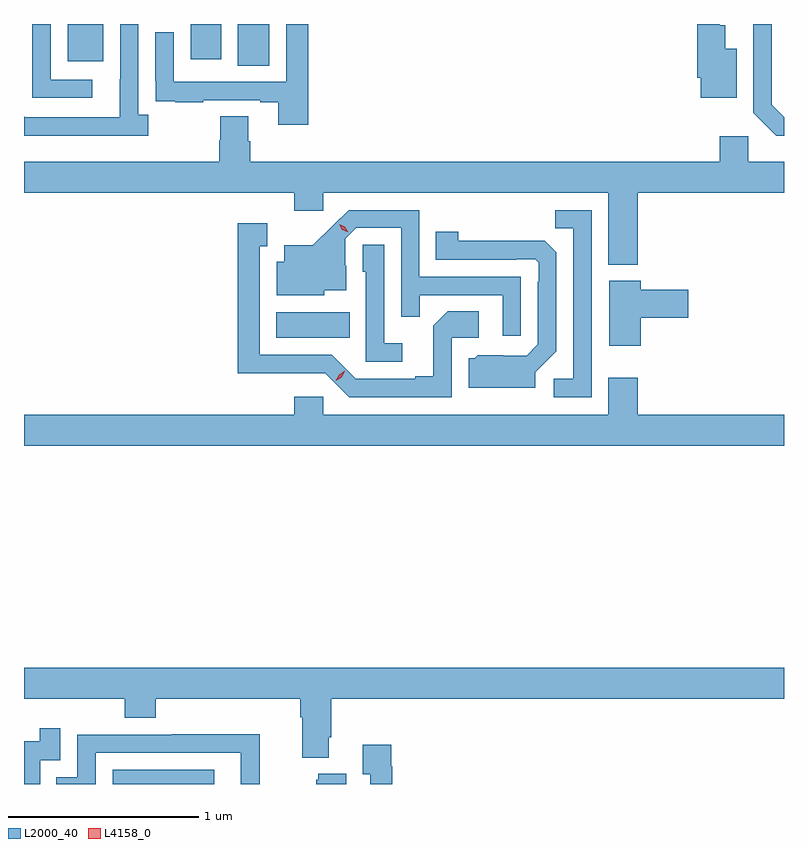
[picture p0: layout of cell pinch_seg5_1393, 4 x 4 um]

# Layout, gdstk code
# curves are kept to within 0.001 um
import gdstk
lib = gdstk.Library(unit=1e-6, precision=1e-09)
def R(c, l, rs):  # rectangles x0, y0, x1, y1
    for r in rs: c.add(gdstk.rectangle(r[:2], r[2:], *l))
def P(c, l, *ps):  # polygons
    for p in ps: c.add(gdstk.Polygon(p, *l))
L2000_40 = (2000, 40)
L4158_0 = (4158, 0)

pinch_seg5_1393 = lib.new_cell('pinch_seg5_1393')
R(pinch_seg5_1393, L2000_40, [(135.399,902.932,135.934,903.006), (136.259,905.282,136.646,905.416), (136.058,906.712,136.222,906.932), (135.161,906.737,135.349,906.932), (135.809,906.747,135.97,906.932)])
P(pinch_seg5_1393, L2000_40, [(136.427,906.932),(136.311,906.932),(136.311,906.627),(135.72,906.627),(135.72,906.889),(135.624,906.889),(135.624,906.634),(135.625,906.634),(135.625,906.525),(135.727,906.525),(135.727,906.519),(135.875,906.519),(135.875,906.531),(136.175,906.531),(136.175,906.519),(136.271,906.519),(136.271,906.402),(136.427,906.402)],
  [(138.682,906.802),(138.622,906.802),(138.622,906.925),(138.593,906.925),(138.593,906.932),(138.475,906.932),(138.475,906.649),(138.494,906.649),(138.494,906.545),(138.682,906.545)],
  [(138.932,906.442),(138.867,906.507),(138.867,906.932),(138.771,906.932),(138.771,906.465),(138.892,906.344),(138.932,906.344)],
  [(135.586,906.454),(135.534,906.454),(135.534,906.932),(135.438,906.932),(135.438,906.641),(135.437,906.641),(135.437,906.441),(134.937,906.441),(134.932,906.446),(134.932,906.344),(135.586,906.344)],
  [(135.292,906.639),(135.072,906.639),(135.072,906.932),(134.976,906.932),(134.976,906.543),(135.292,906.543)],
  [(135.964,906.446),(135.964,906.321),(135.959,906.321),(135.959,906.208),(134.932,906.208),(134.932,906.044),(136.355,906.044),(136.355,905.949),(136.506,905.949),(136.506,906.044),(138.008,906.044),(138.008,905.666),(138.161,905.666),(138.161,906.044),(138.932,906.044),(138.932,906.208),(138.744,906.208),(138.744,906.34),(138.593,906.34),(138.593,906.208),(136.124,906.208),(136.124,906.314),(136.111,906.314),(136.111,906.446)],
  [(137.547,905.601),(137.013,905.601),(137.013,905.952),(136.64,905.952),(136.453,905.767),(136.301,905.767),(136.301,905.68),(136.262,905.68),(136.262,905.504),(136.512,905.504),(136.512,905.531),(136.627,905.531),(136.627,905.66),(136.623,905.66),(136.623,905.802),(136.68,905.859),(136.917,905.859),(136.917,905.392),(137.015,905.392),(137.015,905.505),(137.451,905.505),(137.451,905.292),(137.547,905.292)],
  [(137.919,905.952),(137.728,905.952),(137.728,905.857),(137.823,905.857),(137.823,905.064),(137.721,905.064),(137.721,904.968),(137.919,904.968)],
  [(137.184,905.28),(137.326,905.28),(137.326,905.42),(137.161,905.42),(137.085,905.344),(137.085,905.077),(136.991,905.077),(136.991,905.064),(136.677,905.064),(136.551,905.19),(136.174,905.19),(136.174,905.763),(136.213,905.763),(136.213,905.884),(136.056,905.884),(136.056,905.093),(136.518,905.094),(136.644,904.968),(137.184,904.968)],
  [(137.623,905.1),(137.733,905.21),(137.733,905.732),(137.674,905.791),(137.217,905.792),(137.217,905.839),(137.098,905.839),(137.098,905.691),(137.522,905.691),(137.522,905.694),(137.622,905.694),(137.64,905.676),(137.64,905.576),(137.637,905.576),(137.637,905.247),(137.577,905.187),(137.32,905.188),(137.304,905.172),(137.273,905.172),(137.273,905.018),(137.623,905.018)],
  [(136.924,905.251),(136.827,905.251),(136.827,905.771),(136.716,905.771),(136.716,905.628),(136.731,905.628),(136.731,905.154),(136.924,905.154)],
  [(138.178,905.387),(138.427,905.387),(138.427,905.534),(138.178,905.534),(138.178,905.581),(138.011,905.581),(138.011,905.238),(138.178,905.238)],
  [(138.932,904.876),(138.161,904.876),(138.161,905.071),(138.008,905.071),(138.008,904.876),(136.506,904.876),(136.506,904.969),(136.355,904.969),(136.355,904.876),(134.932,904.876),(134.932,904.712),(138.932,904.712)],
  [(136.537,903.178),(136.55,903.178),(136.55,903.38),(138.932,903.38),(138.932,903.544),(134.932,903.544),(134.932,903.38),(135.461,903.38),(135.461,903.281),(135.626,903.281),(135.626,903.38),(136.385,903.38),(136.385,903.284),(136.397,903.284),(136.397,903.071),(136.537,903.071)],
  [(135.018,903.057),(135.123,903.057),(135.123,903.226),(135.015,903.226),(135.015,903.156),(134.932,903.156),(134.932,902.932),(135.018,902.932)],
  [(135.309,903.096),(136.074,903.096),(136.074,902.932),(136.173,902.932),(136.173,903.194),(135.709,903.194),(135.709,903.192),(135.213,903.192),(135.213,902.967),(135.103,902.967),(135.103,902.932),(135.309,902.932)],
  [(136.871,903.026),(136.864,903.026),(136.864,903.139),(136.715,903.139),(136.715,902.983),(136.755,902.983),(136.755,902.932),(136.871,902.932)],
  [(136.627,902.986),(136.481,902.986),(136.481,902.955),(136.469,902.955),(136.469,902.932),(136.627,902.932)])
P(pinch_seg5_1393, L4158_0, [(136.639,905.835),(136.608,905.849),(136.59,905.878),(136.59,905.879),(136.591,905.879),(136.621,905.864),(136.639,905.835),(136.639,905.835)],
  [(136.573,905.054),(136.573,905.054),(136.59,905.087),(136.621,905.106),(136.621,905.106),(136.621,905.106),(136.604,905.073),(136.573,905.054)])

lib.write_gds('pinch_seg5_1393.gds')
